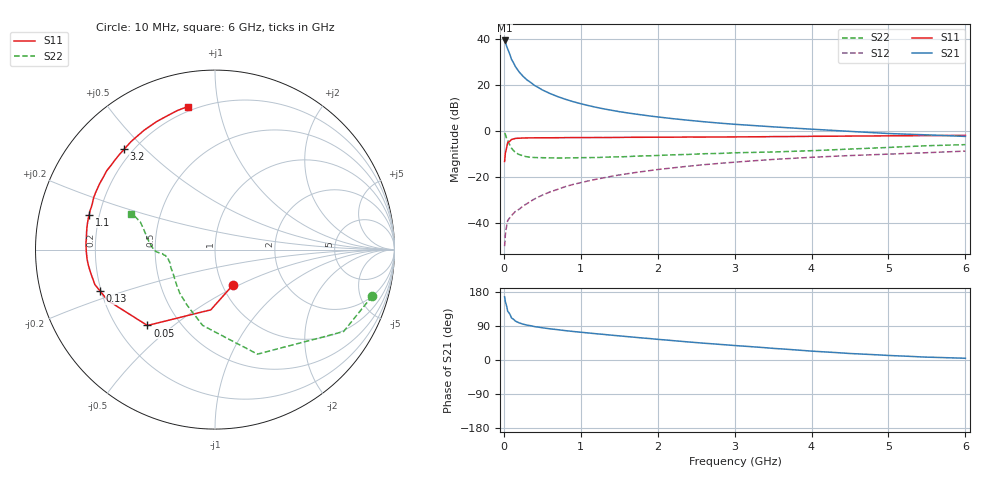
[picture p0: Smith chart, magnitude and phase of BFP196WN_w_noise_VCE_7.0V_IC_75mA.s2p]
! Infineon Technologies  Discrete & RF Semiconductors
! BFP196WN
! VCE =  7.0 V,  IC =  75 mA
! Common Emitter S-Parameters:  Jan 2017
# GHz  S  MA  R  50
!  f  S11  S21  S12  S22
! GHz  MAG  ANG  MAG  ANG  MAG  ANG  MAG  ANG
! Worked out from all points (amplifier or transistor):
!   77 points, 10 MHz to 6 GHz, reference 50 ohm
!   highest |S21| = 39.4 dB at 10 MHz (marker M1)
!   |S21| within 3 dB of that: start of sweep to 41.57 MHz
!   unconditionally stable (mu >= 1): 564.3 MHz to 2.617 GHz
!   at 130 MHz: K = 0.62, MSG = 32.5 dB, |S12| = -35.5 dB
!   at 2.2 GHz: K = 1.02, MAG = 9.9 dB, |S12| = -15.9 dB
!   at 6 GHz: K = 0.91, MSG = 3.2 dB, |S12| = -8.7 dB
!   lowest NFmin = 1.53 dB at 450 MHz
!   S11 on the Smith chart (normalised r, x): 10 MHz: 1.12, -0.46; 50 MHz: 0.33, -0.41; 130 MHz: 0.20, -0.17; 1.1 GHz: 0.16, +0.13; 3.2 GHz: 0.17, +0.43; 6 GHz: 0.17, +0.81
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0.01  0.2206 -62.9  93.01 166.7  0.0032 75.0  0.9133 -16.5
0.02  0.3364 -94.0  84.25 153.7  0.0057 75.6  0.8494 -32.5
0.05  0.5662 -131.7  60.57 128.6  0.0115 55.5  0.6288 -67.9
0.1  0.6612 -154.6  36.05 110.8  0.0147 50.1  0.4278 -99.3
0.13  0.6807 -160.2  29.5 106.6  0.0167 52.1  0.3732 -109.2
0.15  0.6971 -163.8  25.25 102.7  0.0181 53.2  0.3444 -117.3
0.2  0.7044 -169.2  19.2 97.9  0.0203 57.2  0.3113 -129.3
0.25  0.7107 -172.8  15.49 94.6  0.0238 58.8  0.2915 -136.9
0.3  0.7147 -175.6  12.97 92.1  0.0267 62.4  0.2783 -143.5
0.4  0.7175 -179.5  9.812 88.1  0.0339 65.8  0.268 -151.2
0.5  0.7198 177.2  7.863 85.0  0.0409 68.3  0.2658 -156.7
0.6  0.7196 174.8  6.567 82.3  0.0481 68.7  0.2639 -160.8
0.7  0.7217 172.5  5.624 80.0  0.0547 69.8  0.2616 -163.3
0.9  0.7255 168.1  4.374 75.3  0.0699 70.5  0.2644 -166.9
1.1  0.7276 164.5  3.59 71.3  0.0835 70.1  0.2669 -169.7
1.5  0.7335 157.8  2.655 63.7  0.1122 68.4  0.2777 -173.3
2.1  0.7408 148.4  1.951 52.9  0.1536 64.1  0.302 -176.1
3.1  0.7525 133.6  1.376 36.8  0.2187 55.9  0.3425 179.6
3.2  0.7542 132.2  1.341 35.4  0.2249 55.0  0.3453 178.9
4.1  0.7751 119.3  1.082 22.2  0.276 47.2  0.3835 170.1
5.1  0.7937 108.6  0.878 11.1  0.3225 39.6  0.4516 159.2
6  0.8115 100.8  0.77 4.6  0.3694 33.6  0.5105 156.8
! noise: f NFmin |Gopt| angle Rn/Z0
0.45  1.53  0.57  -176  0.05
0.9  1.66  0.59  -169  0.06
1.9  2.6  0.7  -147  0.2
2.4  3.41  0.71  -138  0.33
